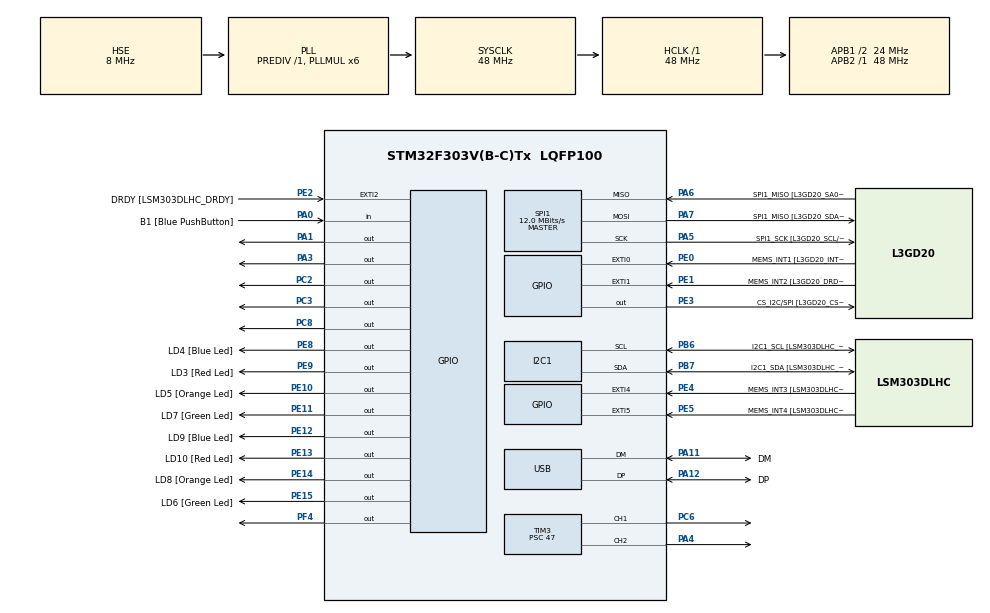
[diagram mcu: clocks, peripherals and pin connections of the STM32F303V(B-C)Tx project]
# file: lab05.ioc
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I2C1.Timing=0x00201D2B
I2C1.Timing-I2C=0x2000090E
Mcu.Family=STM32F3
Mcu.Name=STM32F303V(B-C)Tx
Mcu.Package=LQFP100
NVIC.PriorityGroup=NVIC_PRIORITYGROUP_0
PA0.GPIO_Label=B1 [Blue PushButton]
PA0.Signal=GPIO_Input
PA1.Signal=GPIO_Output
PA11.GPIO_Label=DM
PA11.Mode=Device
PA11.Signal=USB_DM
PA12.GPIO_Label=DP
PA12.Mode=Device
PA12.Signal=USB_DP
PA13.GPIO_Label=SWDIO
PA13.Mode=Serial_Wire
PA13.Signal=SYS_JTMS-SWDIO
PA14.GPIO_Label=SWCLK
PA14.Mode=Serial_Wire
PA14.Signal=SYS_JTCK-SWCLK
PA3.Signal=GPIO_Output
PA4.Signal=S_TIM3_CH2
PA5.GPIO_Label=SPI1_SCK [L3GD20_SCL/SPC]
PA5.Mode=Full_Duplex_Master
PA5.Signal=SPI1_SCK
PA6.GPIO_Label=SPI1_MISO [L3GD20_SA0/SDO]
PA6.Mode=Full_Duplex_Master
PA6.Signal=SPI1_MISO
PA7.GPIO_Label=SPI1_MISO [L3GD20_SDA/SDI/SDO]
PA7.Mode=Full_Duplex_Master
PA7.Signal=SPI1_MOSI
PB3.GPIO_Label=SWO
PB3.Signal=SYS_JTDO-TRACESWO
PB6.GPIO_Label=I2C1_SCL [LSM303DLHC_SCL]
PB6.GPIO_Pu=GPIO_PULLUP
PB6.Mode=I2C
PB6.Signal=I2C1_SCL
PB7.GPIO_Label=I2C1_SDA [LSM303DLHC_SDA]
PB7.GPIO_Pu=GPIO_PULLUP
PB7.Mode=I2C
PB7.Signal=I2C1_SDA
PC14-OSC32_IN.GPIO_Label=OSC32_IN
PC14-OSC32_IN.Signal=RCC_OSC32_IN
PC15-OSC32_OUT.GPIO_Label=OSC32_OUT
PC15-OSC32_OUT.Signal=RCC_OSC32_OUT
PC2.Signal=GPIO_Output
PC3.Signal=GPIO_Output
PC6.Signal=S_TIM3_CH1
PC8.Signal=GPIO_Output
PE0.GPIO_Label=MEMS_INT1 [L3GD20_INT1]
PE0.GPIO_ModeDefaultEXTI=GPIO_MODE_EVT_RISING
PE0.Signal=GPXTI0
PE1.GPIO_Label=MEMS_INT2 [L3GD20_DRDY/INT2]
PE1.GPIO_ModeDefaultEXTI=GPIO_MODE_EVT_RISING
PE1.Signal=GPXTI1
PE10.GPIO_Label=LD5 [Orange Led]
PE10.Signal=GPIO_Output
PE11.GPIO_Label=LD7 [Green Led]
PE11.Signal=GPIO_Output
PE12.GPIO_Label=LD9 [Blue Led]
PE12.Signal=GPIO_Output
PE13.GPIO_Label=LD10 [Red Led]
PE13.Signal=GPIO_Output
PE14.GPIO_Label=LD8 [Orange Led]
PE14.Signal=GPIO_Output
PE15.GPIO_Label=LD6 [Green Led]
PE15.Signal=GPIO_Output
PE2.GPIO_Label=DRDY [LSM303DLHC_DRDY]
PE2.GPIO_ModeDefaultEXTI=GPIO_MODE_EVT_RISING
PE2.Signal=GPXTI2
PE3.GPIO_Label=CS_I2C/SPI [L3GD20_CS_I2C/SPI]
PE3.Signal=GPIO_Output
PE4.GPIO_Label=MEMS_INT3 [LSM303DLHC_INT1]
PE4.GPIO_ModeDefaultEXTI=GPIO_MODE_EVT_RISING
PE4.Signal=GPXTI4
PE5.GPIO_Label=MEMS_INT4 [LSM303DLHC_INT2]
PE5.GPIO_ModeDefaultEXTI=GPIO_MODE_EVT_RISING
PE5.Signal=GPXTI5
PE8.GPIO_Label=LD4 [Blue Led]
PE8.Signal=GPIO_Output
PE9.GPIO_Label=LD3 [Red Led]
PE9.Signal=GPIO_Output
PF0-OSC_IN.GPIO_Label=OSC_IN
PF0-OSC_IN.Mode=HSE-External-Clock-Source
PF0-OSC_IN.Signal=RCC_OSC_IN
PF1-OSC_OUT.GPIO_Label=OSC_OUT
PF1-OSC_OUT.Signal=RCC_OSC_OUT
PF4.Signal=GPIO_Output
ProjectManager.HeapSize=0x200
ProjectManager.StackSize=0x400
ProjectManager.TargetToolchain=CMake
RCC.AHBFreq_Value=48000000
RCC.APB1CLKDivider=RCC_HCLK_DIV2
RCC.APB1Freq_Value=24000000
RCC.APB1TimFreq_Value=48000000
RCC.APB2Freq_Value=48000000
RCC.APB2TimFreq_Value=48000000
RCC.CortexFreq_Value=48000000
RCC.HCLKFreq_Value=48000000
RCC.HSE_VALUE=8000000
RCC.HSI_VALUE=8000000
RCC.LSE_VALUE=32768
RCC.PLLMUL=RCC_PLL_MUL6
RCC.SYSCLKFreq_VALUE=48000000
RCC.SYSCLKSourceVirtual=RCC_SYSCLKSOURCE_PLLCLK
RCC.USBFreq_Value=48000000
SH.S_TIM3_CH1.0=TIM3_CH1,PWM Generation1 CH1
SH.S_TIM3_CH2.0=TIM3_CH2,PWM Generation2 CH2
SPI1.BaudRatePrescaler=SPI_BAUDRATEPRESCALER_4
SPI1.BaudRatePrescaler-Full_Duplex_Master=SPI_BAUDRATEPRESCALER_2
SPI1.CalculateBaudRate=12.0 MBits/s
SPI1.CalculateBaudRate-Full_Duplex_Master=24.0 MBits/s
SPI1.Direction=SPI_DIRECTION_2LINES
SPI1.Mode=SPI_MODE_MASTER
SPI1.Mode-Full_Duplex_Master=SPI_MODE_MASTER
SPI1.VirtualType=VM_MASTER
TIM3.Channel-PWM\ Generation1\ CH1=TIM_CHANNEL_1
TIM3.Channel-PWM\ Generation2\ CH2=TIM_CHANNEL_2
TIM3.Period=999
TIM3.Prescaler=47
TIM3.Pulse-PWM\ Generation1\ CH1=500
board=STM32F3DISCOVERY

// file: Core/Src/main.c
/* USER CODE BEGIN Header */
/**
  ******************************************************************************
  * @file           : main.c
  * @brief          : Main program body
  ******************************************************************************
  * @attention
  *
  * Copyright (c) 2026 STMicroelectronics.
  * All rights reserved.
  *
  * This software is licensed under terms that can be found in the LICENSE file
  * in the root directory of this software component.
  * If no LICENSE file comes with this software, it is provided AS-IS.
  *
  ******************************************************************************
  */
/* USER CODE END Header */
#include "main.h"

I2C_HandleTypeDef hi2c1;

SPI_HandleTypeDef hspi1;

TIM_HandleTypeDef htim3;

PCD_HandleTypeDef hpcd_USB_FS;

void SystemClock_Config(void);
static void MX_GPIO_Init(void);
static void MX_I2C1_Init(void);
static void MX_SPI1_Init(void);
static void MX_TIM3_Init(void);
static void MX_USB_PCD_Init(void);
/* USER CODE BEGIN PFP */

void RightMotor_Forward(uint16_t speed);
void RightMotor_Backward(uint16_t speed);

void LeftMotor_Forward(uint16_t speed);
void LeftMotor_Backward(uint16_t speed);

void Motors_Stop(void);

/* USER CODE END PFP */

int main(void)
{

  /* MCU Configuration--------------------------------------------------------*/

  /* Reset of all peripherals, Initializes the Flash interface and the Systick. */
  HAL_Init();

  /* Configure the system clock */
  SystemClock_Config();

  /* Initialize all configured peripherals */
  MX_GPIO_Init();
  MX_I2C1_Init();
  MX_SPI1_Init();
  MX_TIM3_Init();
  MX_USB_PCD_Init();
  /* USER CODE BEGIN 2 */

  // Start PWM
  HAL_TIM_PWM_Start (& htim3, TIM_CHANNEL_1 );  // right D10 = PC3
  HAL_TIM_PWM_Start (& htim3, TIM_CHANNEL_2 );  // left  D9 = PF4

  /* ================= RIGHT MOTOR ================= */

  void RightMotor_Forward(uint16_t speed)
  {
      // D8 HIGH, D12 LOW
      HAL_GPIO_WritePin(GPIOC, GPIO_PIN_2, GPIO_PIN_SET);    // D8
      HAL_GPIO_WritePin(GPIOC, GPIO_PIN_8, GPIO_PIN_RESET);  // D12

      // D10 PWM
      __HAL_TIM_SET_COMPARE(& htim3, TIM_CHANNEL_1, speed);
  }

  void RightMotor_Backward(uint16_t speed)
  {
      // D8 LOW, D12 HIGH
      HAL_GPIO_WritePin(GPIOC, GPIO_PIN_2, GPIO_PIN_RESET);  // D8
      HAL_GPIO_WritePin(GPIOC, GPIO_PIN_8, GPIO_PIN_SET);    // D12

      // D10 PWM
      __HAL_TIM_SET_COMPARE(& htim3, TIM_CHANNEL_1, speed);
  }

  /* ================= LEFT MOTOR ================= */

  void LeftMotor_Forward(uint16_t speed)
  {
      // D7 HIGH, D6 LOW
      HAL_GPIO_WritePin(GPIOA, GPIO_PIN_1, GPIO_PIN_SET);    // D7
      HAL_GPIO_WritePin(GPIOA, GPIO_PIN_3, GPIO_PIN_RESET);  // D6

      // D9 PWM
      __HAL_TIM_SET_COMPARE(& htim3, TIM_CHANNEL_2, speed);
  }

  void LeftMotor_Backward(uint16_t speed)
  {
      // D7 LOW, D6 HIGH
      HAL_GPIO_WritePin(GPIOA, GPIO_PIN_1, GPIO_PIN_RESET);  // D7
      HAL_GPIO_WritePin(GPIOA, GPIO_PIN_3, GPIO_PIN_SET);    // D6

      // D9 PWM
      __HAL_TIM_SET_COMPARE(& htim3, TIM_CHANNEL_2, speed);
  }

  /* ================= STOP BOTH ================= */

  void Motors_Stop(void)
  {
      __HAL_TIM_SET_COMPARE(& htim3, TIM_CHANNEL_1, 0);
      __HAL_TIM_SET_COMPARE(& htim3, TIM_CHANNEL_2, 0);
  }

  /* USER CODE END 2 */

  /* Infinite loop */
  /* USER CODE BEGIN WHILE */
  while (1)
  {

    // // Task 1: Fade LED on PE9 (LD4) using PWM
    // for(uint16_t i = 0; i <= 999; i++) {
    //   __HAL_TIM_SET_COMPARE(&htim3, TIM_CHANNEL_1, i);
    //   HAL_Delay(10);
    // }
    // for(uint16_t i = 999; i > 0; i--) {
    //   __HAL_TIM_SET_COMPARE(&htim3, TIM_CHANNEL_1, i);
    //   HAL_Delay(10);
    // }

    // // ----> task 1 end

    // task 2:
    /* Forward - slow */
    RightMotor_Forward(250);
    LeftMotor_Forward(250);
    HAL_Delay(2000);

    RightMotor_Backward(250);
    LeftMotor_Backward(250);
    HAL_Delay(2000);

    // /* Forward - medium */
    // RightMotor_Forward(500);
    // LeftMotor_Forward(500);
    // HAL_Delay(2000);

    // /* Forward - fast */
    // RightMotor_Forward(750);
    // LeftMotor_Forward(750);
    // HAL_Delay(2000);

    // /* Stop */
    // Motors_Stop();
    // HAL_Delay(1000);

    // /* Backward */
    // RightMotor_Backward(500);
    // LeftMotor_Backward(500);HAL_Delay(2000);

    // /* Forward - medium */
    // RightMotor_Forward(500);
    // LeftMotor_Forward(500);
    // HAL_Delay(2000);

    // /* Forward - fast */
    // RightMotor_Forward(750);
    // LeftMotor_Forward(750);
    // HAL_Delay(2000);

    // /* Stop */
    // Motors_Stop();
    // HAL_Delay(1000);

    // /* Backward */
    // RightMotor_Backward(500);
    // LeftMotor_Backward(500);
    // HAL_Delay(3000);

    // /* Stop */
    // Motors_Stop();
    // HAL_Delay(2000);
    // HAL_Delay(3000);

    // /* Stop */
    // Motors_Stop();
    // HAL_Delay(2000);

    /* USER CODE END WHILE */

  }
}

void SystemClock_Config(void)
{
  RCC_OscInitTypeDef RCC_OscInitStruct = {0};
  RCC_ClkInitTypeDef RCC_ClkInitStruct = {0};
  RCC_PeriphCLKInitTypeDef PeriphClkInit = {0};

  /** Initializes the RCC Oscillators according to the specified parameters
  * in the RCC_OscInitTypeDef structure.
  */
  RCC_OscInitStruct.OscillatorType = RCC_OSCILLATORTYPE_HSI|RCC_OSCILLATORTYPE_HSE;
  RCC_OscInitStruct.HSEState = RCC_HSE_BYPASS;
  RCC_OscInitStruct.HSEPredivValue = RCC_HSE_PREDIV_DIV1;
  RCC_OscInitStruct.HSIState = RCC_HSI_ON;
  RCC_OscInitStruct.HSICalibrationValue = RCC_HSICALIBRATION_DEFAULT;
  RCC_OscInitStruct.PLL.PLLState = RCC_PLL_ON;
  RCC_OscInitStruct.PLL.PLLSource = RCC_PLLSOURCE_HSE;
  RCC_OscInitStruct.PLL.PLLMUL = RCC_PLL_MUL6;
  if (HAL_RCC_OscConfig(&RCC_OscInitStruct) != HAL_OK)
  {
    Error_Handler();
  }

  /** Initializes the CPU, AHB and APB buses clocks
  */
  RCC_ClkInitStruct.ClockType = RCC_CLOCKTYPE_HCLK|RCC_CLOCKTYPE_SYSCLK
                              |RCC_CLOCKTYPE_PCLK1|RCC_CLOCKTYPE_PCLK2;
  RCC_ClkInitStruct.SYSCLKSource = RCC_SYSCLKSOURCE_PLLCLK;
  RCC_ClkInitStruct.AHBCLKDivider = RCC_SYSCLK_DIV1;
  RCC_ClkInitStruct.APB1CLKDivider = RCC_HCLK_DIV2;
  RCC_ClkInitStruct.APB2CLKDivider = RCC_HCLK_DIV1;

  if (HAL_RCC_ClockConfig(&RCC_ClkInitStruct, FLASH_LATENCY_1) != HAL_OK)
  {
    Error_Handler();
  }
  PeriphClkInit.PeriphClockSelection = RCC_PERIPHCLK_USB|RCC_PERIPHCLK_I2C1;
  PeriphClkInit.I2c1ClockSelection = RCC_I2C1CLKSOURCE_HSI;
  PeriphClkInit.USBClockSelection = RCC_USBCLKSOURCE_PLL;
  if (HAL_RCCEx_PeriphCLKConfig(&PeriphClkInit) != HAL_OK)
  {
    Error_Handler();
  }
}

static void MX_I2C1_Init(void)
{

  hi2c1.Instance = I2C1;
  hi2c1.Init.Timing = 0x00201D2B;
  hi2c1.Init.OwnAddress1 = 0;
  hi2c1.Init.AddressingMode = I2C_ADDRESSINGMODE_7BIT;
  hi2c1.Init.DualAddressMode = I2C_DUALADDRESS_DISABLE;
  hi2c1.Init.OwnAddress2 = 0;
  hi2c1.Init.OwnAddress2Masks = I2C_OA2_NOMASK;
  hi2c1.Init.GeneralCallMode = I2C_GENERALCALL_DISABLE;
  hi2c1.Init.NoStretchMode = I2C_NOSTRETCH_DISABLE;
  if (HAL_I2C_Init(&hi2c1) != HAL_OK)
  {
    Error_Handler();
  }

  /** Configure Analogue filter
  */
  if (HAL_I2CEx_ConfigAnalogFilter(&hi2c1, I2C_ANALOGFILTER_ENABLE) != HAL_OK)
  {
    Error_Handler();
  }

  /** Configure Digital filter
  */
  if (HAL_I2CEx_ConfigDigitalFilter(&hi2c1, 0) != HAL_OK)
  {
    Error_Handler();
  }

}

static void MX_SPI1_Init(void)
{

  /* SPI1 parameter configuration*/
  hspi1.Instance = SPI1;
  hspi1.Init.Mode = SPI_MODE_MASTER;
  hspi1.Init.Direction = SPI_DIRECTION_2LINES;
  hspi1.Init.DataSize = SPI_DATASIZE_4BIT;
  hspi1.Init.CLKPolarity = SPI_POLARITY_LOW;
  hspi1.Init.CLKPhase = SPI_PHASE_1EDGE;
  hspi1.Init.NSS = SPI_NSS_SOFT;
  hspi1.Init.BaudRatePrescaler = SPI_BAUDRATEPRESCALER_4;
  hspi1.Init.FirstBit = SPI_FIRSTBIT_MSB;
  hspi1.Init.TIMode = SPI_TIMODE_DISABLE;
  hspi1.Init.CRCCalculation = SPI_CRCCALCULATION_DISABLE;
  hspi1.Init.CRCPolynomial = 7;
  hspi1.Init.CRCLength = SPI_CRC_LENGTH_DATASIZE;
  hspi1.Init.NSSPMode = SPI_NSS_PULSE_ENABLE;
  if (HAL_SPI_Init(&hspi1) != HAL_OK)
  {
    Error_Handler();
  }

}

static void MX_TIM3_Init(void)
{

  TIM_MasterConfigTypeDef sMasterConfig = {0};
  TIM_OC_InitTypeDef sConfigOC = {0};

  htim3.Instance = TIM3;
  htim3.Init.Prescaler = 47;
  htim3.Init.CounterMode = TIM_COUNTERMODE_UP;
  htim3.Init.Period = 999;
  htim3.Init.ClockDivision = TIM_CLOCKDIVISION_DIV1;
  htim3.Init.AutoReloadPreload = TIM_AUTORELOAD_PRELOAD_DISABLE;
  if (HAL_TIM_PWM_Init(&htim3) != HAL_OK)
  {
    Error_Handler();
  }
  sMasterConfig.MasterOutputTrigger = TIM_TRGO_RESET;
  sMasterConfig.MasterSlaveMode = TIM_MASTERSLAVEMODE_DISABLE;
  if (HAL_TIMEx_MasterConfigSynchronization(&htim3, &sMasterConfig) != HAL_OK)
  {
    Error_Handler();
  }
  sConfigOC.OCMode = TIM_OCMODE_PWM1;
  sConfigOC.Pulse = 500;
  sConfigOC.OCPolarity = TIM_OCPOLARITY_HIGH;
  sConfigOC.OCFastMode = TIM_OCFAST_DISABLE;
  if (HAL_TIM_PWM_ConfigChannel(&htim3, &sConfigOC, TIM_CHANNEL_1) != HAL_OK)
  {
    Error_Handler();
  }
  sConfigOC.Pulse = 0;
  if (HAL_TIM_PWM_ConfigChannel(&htim3, &sConfigOC, TIM_CHANNEL_2) != HAL_OK)
  {
    Error_Handler();
  }
  HAL_TIM_MspPostInit(&htim3);

}

static void MX_USB_PCD_Init(void)
{

  hpcd_USB_FS.Instance = USB;
  hpcd_USB_FS.Init.dev_endpoints = 8;
  hpcd_USB_FS.Init.speed = PCD_SPEED_FULL;
  hpcd_USB_FS.Init.phy_itface = PCD_PHY_EMBEDDED;
  hpcd_USB_FS.Init.low_power_enable = DISABLE;
  hpcd_USB_FS.Init.battery_charging_enable = DISABLE;
  if (HAL_PCD_Init(&hpcd_USB_FS) != HAL_OK)
  {
    Error_Handler();
  }

}

static void MX_GPIO_Init(void)
{
  GPIO_InitTypeDef GPIO_InitStruct = {0};

  /* GPIO Ports Clock Enable */
  __HAL_RCC_GPIOE_CLK_ENABLE();
  __HAL_RCC_GPIOC_CLK_ENABLE();
  __HAL_RCC_GPIOF_CLK_ENABLE();
  __HAL_RCC_GPIOA_CLK_ENABLE();
  __HAL_RCC_GPIOB_CLK_ENABLE();

  /*Configure GPIO pin Output Level */
  HAL_GPIO_WritePin(GPIOE, CS_I2C_SPI_Pin|LD4_Pin|LD3_Pin|LD5_Pin
                          |LD7_Pin|LD9_Pin|LD10_Pin|LD8_Pin
                          |LD6_Pin, GPIO_PIN_RESET);

  /*Configure GPIO pin Output Level */
  HAL_GPIO_WritePin(GPIOC, GPIO_PIN_2|GPIO_PIN_3|GPIO_PIN_8, GPIO_PIN_RESET);

  /*Configure GPIO pin Output Level */
  HAL_GPIO_WritePin(GPIOA, GPIO_PIN_1|GPIO_PIN_3, GPIO_PIN_RESET);

  /*Configure GPIO pin Output Level */
  HAL_GPIO_WritePin(GPIOF, GPIO_PIN_4, GPIO_PIN_RESET);

  /*Configure GPIO pins : DRDY_Pin MEMS_INT3_Pin MEMS_INT4_Pin MEMS_INT1_Pin
                           MEMS_INT2_Pin */
  GPIO_InitStruct.Pin = DRDY_Pin|MEMS_INT3_Pin|MEMS_INT4_Pin|MEMS_INT1_Pin
                          |MEMS_INT2_Pin;
  GPIO_InitStruct.Mode = GPIO_MODE_EVT_RISING;
  GPIO_InitStruct.Pull = GPIO_NOPULL;
  HAL_GPIO_Init(GPIOE, &GPIO_InitStruct);

  /*Configure GPIO pins : CS_I2C_SPI_Pin LD4_Pin LD3_Pin LD5_Pin
                           LD7_Pin LD9_Pin LD10_Pin LD8_Pin
                           LD6_Pin */
  GPIO_InitStruct.Pin = CS_I2C_SPI_Pin|LD4_Pin|LD3_Pin|LD5_Pin
                          |LD7_Pin|LD9_Pin|LD10_Pin|LD8_Pin
                          |LD6_Pin;
  GPIO_InitStruct.Mode = GPIO_MODE_OUTPUT_PP;
  GPIO_InitStruct.Pull = GPIO_NOPULL;
  GPIO_InitStruct.Speed = GPIO_SPEED_FREQ_LOW;
  HAL_GPIO_Init(GPIOE, &GPIO_InitStruct);

  /*Configure GPIO pins : PC2 PC3 PC8 */
  GPIO_InitStruct.Pin = GPIO_PIN_2|GPIO_PIN_3|GPIO_PIN_8;
  GPIO_InitStruct.Mode = GPIO_MODE_OUTPUT_PP;
  GPIO_InitStruct.Pull = GPIO_NOPULL;
  GPIO_InitStruct.Speed = GPIO_SPEED_FREQ_LOW;
  HAL_GPIO_Init(GPIOC, &GPIO_InitStruct);

  /*Configure GPIO pin : B1_Pin */
  GPIO_InitStruct.Pin = B1_Pin;
  GPIO_InitStruct.Mode = GPIO_MODE_INPUT;
  GPIO_InitStruct.Pull = GPIO_NOPULL;
  HAL_GPIO_Init(B1_GPIO_Port, &GPIO_InitStruct);

  /*Configure GPIO pins : PA1 PA3 */
  GPIO_InitStruct.Pin = GPIO_PIN_1|GPIO_PIN_3;
  GPIO_InitStruct.Mode = GPIO_MODE_OUTPUT_PP;
  GPIO_InitStruct.Pull = GPIO_NOPULL;
  GPIO_InitStruct.Speed = GPIO_SPEED_FREQ_LOW;
  HAL_GPIO_Init(GPIOA, &GPIO_InitStruct);

  /*Configure GPIO pin : PF4 */
  GPIO_InitStruct.Pin = GPIO_PIN_4;
  GPIO_InitStruct.Mode = GPIO_MODE_OUTPUT_PP;
  GPIO_InitStruct.Pull = GPIO_NOPULL;
  GPIO_InitStruct.Speed = GPIO_SPEED_FREQ_LOW;
  HAL_GPIO_Init(GPIOF, &GPIO_InitStruct);

}

void Error_Handler(void)
{
  __disable_irq();
  while (1)
  {
  }
}
